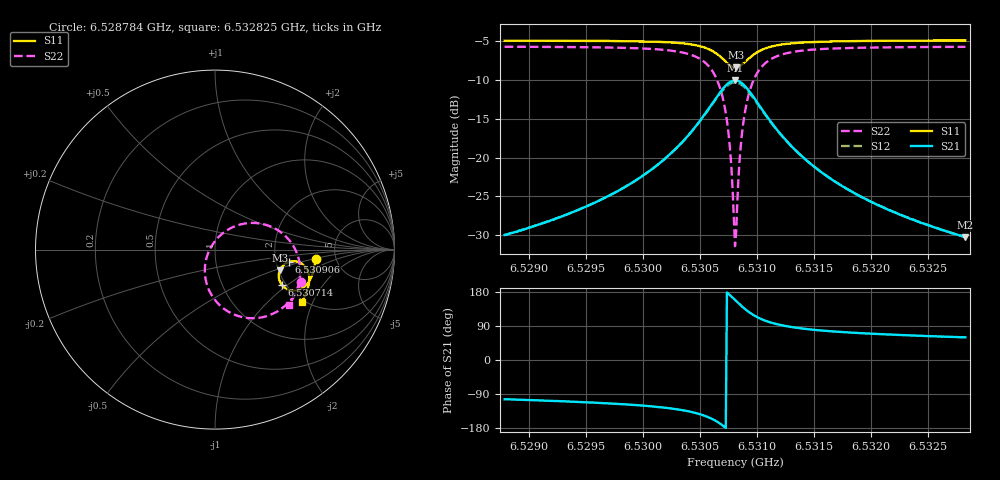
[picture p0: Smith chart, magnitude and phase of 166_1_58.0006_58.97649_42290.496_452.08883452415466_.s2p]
#  HZ  S  RI  R  50.00
! Rohde & Schwarz Vector Network Analyzer
! Rohde-Schwarz,ZNB20-2Port,1311601062101988,3.16
! Created: UTC 3/21/2024, 12:57:43 AM
! freq[Hz]  re:S11  im:S11  re:S21  im:S21  re:S12  im:S12  re:S22  im:S22
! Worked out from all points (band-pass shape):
!   401 points, 6.528784 GHz to 6.532825 GHz, reference 50 ohm
!   highest |S21| = -10.10 dB at 6.530805 GHz (marker M1); lowest = -30.2 dB at 6.532825 GHz (marker M2)
!   |S21| within 3 dB of the highest: 6.530603 GHz to 6.531007 GHz (404.2 kHz wide, 0.00619 % of centre)
!   lowest |S11| = -8.4 dB at 6.530815 GHz (marker M3), VSWR 2.22, Z = 102 - j27.5 ohm
!   |S11| at or under -10 dB: nowhere
!   |S22| runs from -31.4 to -5.8 dB; largest |S21 - S12| = 0.013
!   S11 on the Smith chart (normalised r, x): 6.528784 GHz: 3.49, -0.53; 6.530714 GHz: 1.90, -0.90; 6.530906 GHz: 2.37, -0.39; 6.532825 GHz: 1.94, -1.66
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6.528784e9  0.5605 -0.0515  -0.00755 -0.0309  -0.008 -0.0308  0.4814 -0.1808
6.5294609e9  0.5512 -0.1084  -0.0171 -0.044  -0.0182 -0.0436  0.4493 -0.2439
6.5298448e9  0.54 -0.1447  -0.0296 -0.0579  -0.0312 -0.0572  0.4153 -0.2889
6.5301378e9  0.5239 -0.1771  -0.0512 -0.0754  -0.0535 -0.0739  0.3656 -0.3328
6.5303702e9  0.4973 -0.2076  -0.0915 -0.0955  -0.0945 -0.0922  0.2833 -0.3722
6.530542e9  0.4532 -0.2277  -0.161 -0.1024  -0.1635 -0.0954  0.1548 -0.3769
6.530643e9  0.4075 -0.2228  -0.2318 -0.0755  -0.2311 -0.0656  0.036 -0.3186
6.5307137e9  0.3717 -0.1951  -0.2843 -0.0161  -0.2784 -0.00551  -0.0407 -0.2081
6.5307541e9  0.3578 -0.167  -0.3005 0.0378  -0.2913 0.0462  -0.0568 -0.1158
6.5307946e9  0.3562 -0.1327  -0.2959 0.0994  -0.2846 0.1043  -0.0369 -0.0157
6.5308047e9  0.3582 -0.1243  -0.291 0.1146  -0.2795 0.1184  -0.0257 0.00802
6.5308148e9  0.361 -0.1159  -0.2844 0.1292  -0.273 0.1319  -0.0123 0.0305
6.5308249e9  0.3647 -0.1079  -0.2766 0.1429  -0.2653 0.1447  0.00341 0.0515
6.5308552e9  0.3801 -0.0875  -0.2462 0.1779  -0.2361 0.1771  0.0595 0.103
6.5308754e9  0.3928 -0.0773  -0.2223 0.1951  -0.2132 0.193  0.102 0.1265
6.5309057e9  0.4136 -0.0679  -0.1848 0.211  -0.1777 0.2078  0.1668 0.1455
6.5309764e9  0.4575 -0.0669  -0.1081 0.2134  -0.1043 0.2101  0.2959 0.1341
6.5310774e9  0.4962 -0.0885  -0.0419 0.1819  -0.04 0.1802  0.4025 0.0649
6.531229e9  0.519 -0.1246  -0.00183 0.1348  -0.000411 0.134  0.4608 -0.0321
6.5314816e9  0.5251 -0.1684  0.0153 0.0881  0.0167 0.0877  0.4751 -0.1311
6.5321585e9  0.5086 -0.2396  0.0177 0.0423  0.0186 0.0421  0.4461 -0.2477
6.5328253e9  0.4839 -0.2908  0.0154 0.0266  0.0161 0.0265  0.4113 -0.3078
